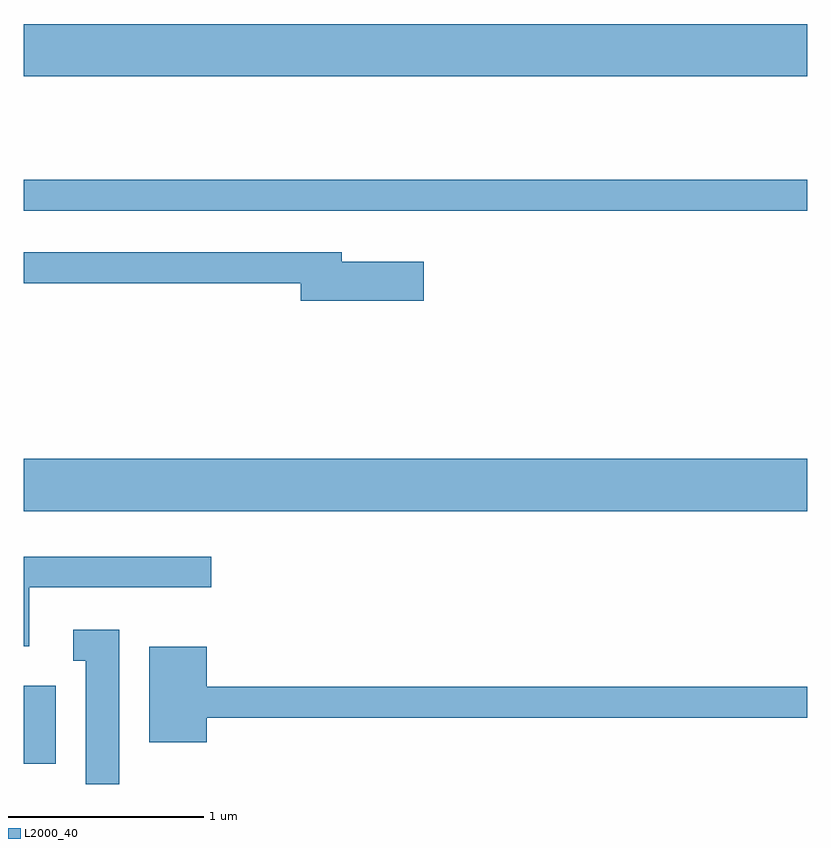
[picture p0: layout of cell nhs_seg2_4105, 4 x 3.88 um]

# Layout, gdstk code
import gdstk
lib = gdstk.Library(unit=1e-6, precision=1e-09)
def R(c, l, rs):  # rectangles x0, y0, x1, y1
    for r in rs: c.add(gdstk.rectangle(r[:2], r[2:], *l))
def P(c, l, *ps):  # polygons
    for p in ps: c.add(gdstk.Polygon(p, *l))
L2000_40 = (2000, 40)

nhs_seg2_4105 = lib.new_cell('nhs_seg2_4105')
R(nhs_seg2_4105, L2000_40, [(305.611,1055.906,305.774,1056.304), (305.611,1057.196,309.611,1057.464), (305.611,1058.731,309.611,1058.889), (305.611,1059.416,309.611,1059.684)])
P(nhs_seg2_4105, L2000_40, [(307.654,1058.469),(307.234,1058.469),(307.234,1058.519),(305.611,1058.519),(305.611,1058.361),(307.026,1058.361),(307.026,1058.271),(307.654,1058.271)],
  [(305.639,1056.806),(306.568,1056.806),(306.568,1056.964),(305.611,1056.964),(305.611,1056.506),(305.639,1056.506)],
  [(306.099,1056.589),(305.863,1056.589),(305.863,1056.431),(305.926,1056.431),(305.926,1055.802),(306.099,1055.802)],
  [(306.544,1056.141),(309.611,1056.141),(309.611,1056.299),(306.544,1056.299),(306.544,1056.504),(306.251,1056.504),(306.251,1056.016),(306.544,1056.016)])

lib.write_gds('nhs_seg2_4105.gds')
